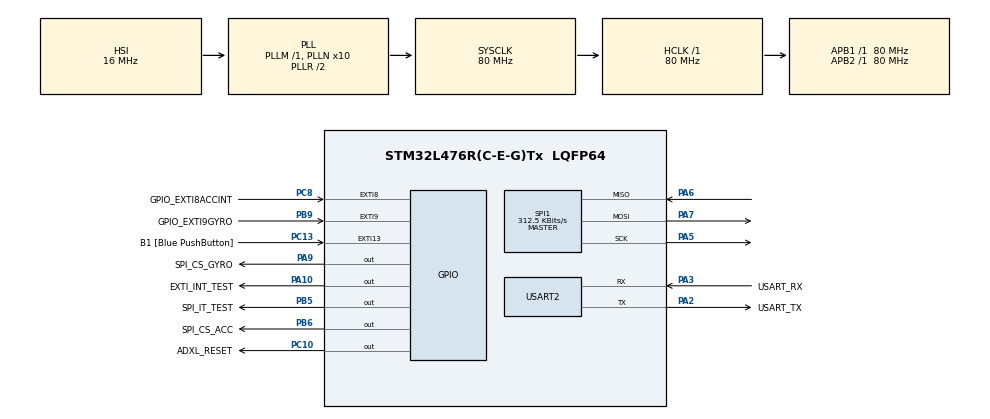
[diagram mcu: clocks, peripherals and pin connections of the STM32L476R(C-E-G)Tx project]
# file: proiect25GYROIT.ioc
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Dma.Request0=SPI1_RX
Dma.Request1=SPI1_TX
Dma.SPI1_RX.0.Direction=DMA_PERIPH_TO_MEMORY
Dma.SPI1_RX.0.Instance=DMA1_Channel2
Dma.SPI1_RX.0.MemDataAlignment=DMA_MDATAALIGN_BYTE
Dma.SPI1_RX.0.MemInc=DMA_MINC_ENABLE
Dma.SPI1_RX.0.Mode=DMA_NORMAL
Dma.SPI1_RX.0.PeriphDataAlignment=DMA_PDATAALIGN_BYTE
Dma.SPI1_RX.0.PeriphInc=DMA_PINC_DISABLE
Dma.SPI1_RX.0.Priority=DMA_PRIORITY_HIGH
Dma.SPI1_TX.1.Direction=DMA_MEMORY_TO_PERIPH
Dma.SPI1_TX.1.Instance=DMA1_Channel3
Dma.SPI1_TX.1.MemDataAlignment=DMA_MDATAALIGN_BYTE
Dma.SPI1_TX.1.MemInc=DMA_MINC_ENABLE
Dma.SPI1_TX.1.Mode=DMA_NORMAL
Dma.SPI1_TX.1.PeriphDataAlignment=DMA_PDATAALIGN_BYTE
Dma.SPI1_TX.1.PeriphInc=DMA_PINC_DISABLE
Dma.SPI1_TX.1.Priority=DMA_PRIORITY_HIGH
Mcu.Family=STM32L4
Mcu.Name=STM32L476R(C-E-G)Tx
Mcu.Package=LQFP64
NVIC.DMA1_Channel2_IRQn=true\:2\:0\:true\:false\:true\:false\:true\:true
NVIC.DMA1_Channel3_IRQn=true\:2\:0\:true\:false\:true\:false\:true\:true
NVIC.EXTI9_5_IRQn=true\:2\:0\:true\:false\:true\:true\:true\:true
NVIC.PriorityGroup=NVIC_PRIORITYGROUP_4
NVIC.SPI1_IRQn=true\:2\:0\:true\:false\:true\:true\:true\:true
PA10.GPIO_Label=EXTI_INT_TEST
PA10.Signal=GPIO_Output
PA13\ (JTMS-SWDIO).GPIO_Label=TMS
PA13\ (JTMS-SWDIO).Mode=Serial_Wire
PA13\ (JTMS-SWDIO).Signal=SYS_JTMS-SWDIO
PA14\ (JTCK-SWCLK).GPIO_Label=TCK
PA14\ (JTCK-SWCLK).Mode=Serial_Wire
PA14\ (JTCK-SWCLK).Signal=SYS_JTCK-SWCLK
PA2.GPIO_Label=USART_TX
PA2.GPIO_Mode=GPIO_MODE_AF_PP
PA2.GPIO_PuPd=GPIO_NOPULL
PA2.GPIO_Speed=GPIO_SPEED_FREQ_VERY_HIGH
PA2.Mode=Asynchronous
PA2.Signal=USART2_TX
PA3.GPIO_Label=USART_RX
PA3.GPIO_Mode=GPIO_MODE_AF_PP
PA3.GPIO_PuPd=GPIO_NOPULL
PA3.GPIO_Speed=GPIO_SPEED_FREQ_VERY_HIGH
PA3.Mode=Asynchronous
PA3.Signal=USART2_RX
PA5.Mode=Full_Duplex_Master
PA5.Signal=SPI1_SCK
PA6.Mode=Full_Duplex_Master
PA6.Signal=SPI1_MISO
PA7.Mode=Full_Duplex_Master
PA7.Signal=SPI1_MOSI
PA9.GPIO_Label=SPI_CS_GYRO
PA9.GPIO_Speed=GPIO_SPEED_FREQ_HIGH
PA9.PinState=GPIO_PIN_SET
PA9.Signal=GPIO_Output
PB3\ (JTDO-TRACESWO).GPIO_Label=SWO
PB3\ (JTDO-TRACESWO).Signal=SYS_JTDO-SWO
PB5.GPIO_Label=SPI_IT_TEST
PB5.Signal=GPIO_Output
PB6.GPIO_Label=SPI_CS_ACC
PB6.GPIO_Speed=GPIO_SPEED_FREQ_HIGH
PB6.PinState=GPIO_PIN_SET
PB6.Signal=GPIO_Output
PB9.GPIO_Label=GPIO_EXTI9GYRO
PB9.Signal=GPXTI9
PC10.GPIO_Label=ADXL_RESET
PC10.Signal=GPIO_Output
PC13.GPIO_Label=B1 [Blue PushButton]
PC13.GPIO_ModeDefaultEXTI=GPIO_MODE_IT_FALLING
PC13.GPIO_PuPd=GPIO_NOPULL
PC13.Signal=GPXTI13
PC14-OSC32_IN\ (PC14).Mode=LSE-External-Oscillator
PC14-OSC32_IN\ (PC14).Signal=RCC_OSC32_IN
PC15-OSC32_OUT\ (PC15).Mode=LSE-External-Oscillator
PC15-OSC32_OUT\ (PC15).Signal=RCC_OSC32_OUT
PC8.GPIO_Label=GPIO_EXTI8ACCINT
PC8.GPIO_PuPd=GPIO_PULLDOWN
PC8.Signal=GPXTI8
PH0-OSC_IN\ (PH0).Signal=RCC_OSC_IN
PH1-OSC_OUT\ (PH1).Signal=RCC_OSC_OUT
ProjectManager.HeapSize=0x200
ProjectManager.StackSize=0x400
ProjectManager.TargetToolchain=STM32CubeIDE
RCC.ADCFreq_Value=64000000
RCC.AHBFreq_Value=80000000
RCC.APB1Freq_Value=80000000
RCC.APB1TimFreq_Value=80000000
RCC.APB2Freq_Value=80000000
RCC.APB2TimFreq_Value=80000000
RCC.CortexFreq_Value=80000000
RCC.HCLKFreq_Value=80000000
RCC.HSE_VALUE=8000000
RCC.HSI_VALUE=16000000
RCC.MSI_VALUE=4000000
RCC.PLLN=10
RCC.PLLSourceVirtual=RCC_PLLSOURCE_HSI
RCC.PREFETCH_ENABLE=1
RCC.SYSCLKFreq_VALUE=80000000
RCC.SYSCLKSource=RCC_SYSCLKSOURCE_PLLCLK
RCC.USBFreq_Value=64000000
RCC.VCOOutputFreq_Value=160000000
SPI1.BaudRatePrescaler=SPI_BAUDRATEPRESCALER_256
SPI1.CLKPhase=SPI_PHASE_2EDGE
SPI1.CLKPolarity=SPI_POLARITY_HIGH
SPI1.CalculateBaudRate=312.5 KBits/s
SPI1.DataSize=SPI_DATASIZE_8BIT
SPI1.Direction=SPI_DIRECTION_2LINES
SPI1.Mode=SPI_MODE_MASTER
SPI1.VirtualType=VM_MASTER
USART2.VirtualMode-Asynchronous=VM_ASYNC
board=NUCLEO-L476RG

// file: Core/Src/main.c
/* USER CODE BEGIN Header */
/**
  ******************************************************************************
  * @file           : main.c
  * @brief          : Main program body
  ******************************************************************************
  * @attention
  *
  * Copyright (c) 2022 STMicroelectronics.
  * All rights reserved.
  *
  * This software is licensed under terms that can be found in the LICENSE file
  * in the root directory of this software component.
  * If no LICENSE file comes with this software, it is provided AS-IS.
  *
  ******************************************************************************
  */
/* USER CODE END Header */
#include "main.h"
#include "dma.h"
#include "spi.h"
#include "usart.h"
#include "gpio.h"

/* USER CODE BEGIN Includes */
#include <stdio.h>
#include "ADXL.h"
#include <string.h>
#include "GYRO.h"
#include <stdbool.h>
/* USER CODE END Includes */

/* USER CODE BEGIN PV */
bool is_new_data_available = false;
bool is_new_ACC_datacomplete = false;
bool is_new_processing_ready = true;
bool GYRO_EXTI_Interrupt = false;

uint8_t TxBuffer[] = { 0, 0, 0, 0, 0, 0, 0 };
uint8_t RxBuffer[7];
extern DMA_HandleTypeDef hdma_spi1_rx;
/* USER CODE END PV */

void SystemClock_Config(void);
/* USER CODE BEGIN PFP */
void DMATransferComplete(DMA_HandleTypeDef *hdma);
/* USER CODE END PFP */

int main(void)
{
  /* USER CODE BEGIN 1 */
  // uint8_t buffTest[] = {0x8F, 0x00};

  /* USER CODE END 1 */

  /* MCU Configuration--------------------------------------------------------*/

  /* Reset of all peripherals, Initializes the Flash interface and the Systick. */
  HAL_Init();

  /* Configure the system clock */
  SystemClock_Config();

  /* Initialize all configured peripherals */
  MX_GPIO_Init();
  MX_DMA_Init();
  MX_USART2_UART_Init();
  MX_SPI1_Init();
  /* USER CODE BEGIN 2 */
  	HAL_NVIC_DisableIRQ(EXTI9_5_IRQn);
  //  ADXL_Init();
  	GYRO_PowerMode();
    HAL_NVIC_EnableIRQ(EXTI9_5_IRQn);
    int16_t x,y,z;
  //  ADXL_ReadValuesXYZ(&x, &y, &z);

	GYRO_ReadValuesXYZ(&x, &y, &z);

  /* USER CODE END 2 */

  /* Infinite loop */
  /* USER CODE BEGIN WHILE */

  while (1)
  {
//	  if(is_new_ACC_datacomplete)
//	  {
//		  is_new_ACC_datacomplete = false;
//		  ADXL_IT_GetValuesXYZ(&x, &y, &z);
//		  ADXL_ConvertXYZValuesG(&x, &y, &z);
//		  USART_TransmitACCValues(&x, &y, &z);
//	  }

   if(GYRO_EXTI_Interrupt)
   {
	  //  GYRO_EXTI_Interrupt = false;
	    GYRO_ReadValuesXYZ(&x, &y, &z);
	    GYRO_XYZConv(&x, &y, &z);
   	    USART_TransmitGYROValues(&x, &y, &z);
   	    GYRO_EXTI_Interrupt = false;

   }
    /* USER CODE END WHILE */

   }
}

void SystemClock_Config(void)
{
  RCC_OscInitTypeDef RCC_OscInitStruct = {0};
  RCC_ClkInitTypeDef RCC_ClkInitStruct = {0};

  /** Configure the main internal regulator output voltage
  */
  if (HAL_PWREx_ControlVoltageScaling(PWR_REGULATOR_VOLTAGE_SCALE1) != HAL_OK)
  {
    Error_Handler();
  }

  /** Initializes the RCC Oscillators according to the specified parameters
  * in the RCC_OscInitTypeDef structure.
  */
  RCC_OscInitStruct.OscillatorType = RCC_OSCILLATORTYPE_HSI;
  RCC_OscInitStruct.HSIState = RCC_HSI_ON;
  RCC_OscInitStruct.HSICalibrationValue = RCC_HSICALIBRATION_DEFAULT;
  RCC_OscInitStruct.PLL.PLLState = RCC_PLL_ON;
  RCC_OscInitStruct.PLL.PLLSource = RCC_PLLSOURCE_HSI;
  RCC_OscInitStruct.PLL.PLLM = 1;
  RCC_OscInitStruct.PLL.PLLN = 10;
  RCC_OscInitStruct.PLL.PLLP = RCC_PLLP_DIV7;
  RCC_OscInitStruct.PLL.PLLQ = RCC_PLLQ_DIV2;
  RCC_OscInitStruct.PLL.PLLR = RCC_PLLR_DIV2;
  if (HAL_RCC_OscConfig(&RCC_OscInitStruct) != HAL_OK)
  {
    Error_Handler();
  }

  /** Initializes the CPU, AHB and APB buses clocks
  */
  RCC_ClkInitStruct.ClockType = RCC_CLOCKTYPE_HCLK|RCC_CLOCKTYPE_SYSCLK
                              |RCC_CLOCKTYPE_PCLK1|RCC_CLOCKTYPE_PCLK2;
  RCC_ClkInitStruct.SYSCLKSource = RCC_SYSCLKSOURCE_PLLCLK;
  RCC_ClkInitStruct.AHBCLKDivider = RCC_SYSCLK_DIV1;
  RCC_ClkInitStruct.APB1CLKDivider = RCC_HCLK_DIV1;
  RCC_ClkInitStruct.APB2CLKDivider = RCC_HCLK_DIV1;

  if (HAL_RCC_ClockConfig(&RCC_ClkInitStruct, FLASH_LATENCY_4) != HAL_OK)
  {
    Error_Handler();
  }
}

void Error_Handler(void)
{
  __disable_irq();
  while (1)
  {
  }
}
